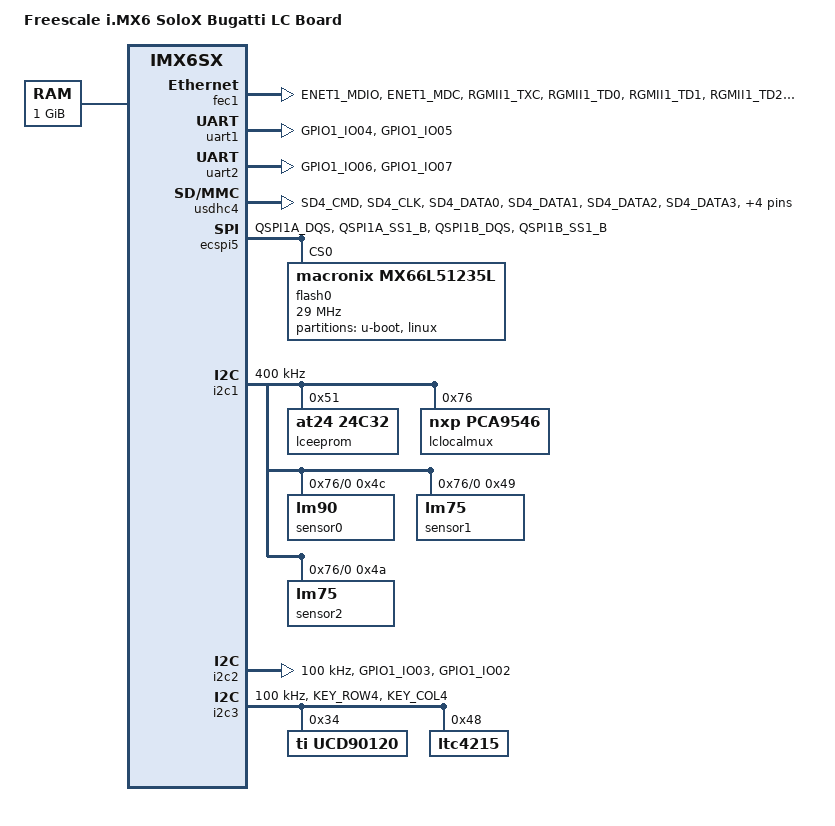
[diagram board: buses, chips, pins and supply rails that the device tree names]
/*
 * Copyright (C) 2015 Platina Systems, Inc.
 *
 * This program is free software; you can redistribute it and/or modify
 * it under the terms of the GNU General Public License version 2 as
 * published by the Free Software Foundation.
 */

/dts-v1/;

#include <dt-bindings/gpio/gpio.h>
#include <dt-bindings/input/input.h>
#include "imx6sx.dtsi"

/ {
	model = "Freescale i.MX6 SoloX Bugatti LC Board";
	compatible = "platina,platina-bugatti-lc", "fsl,imx6sx";

	chosen {
		stdout-path = &uart1;
	};

	memory {
		reg = <0x80000000 0x40000000>;
	};

};

&fec1 {
	pinctrl-names = "default";
	pinctrl-0 = <&pinctrl_enet1>;
	status = "okay";
};

&uart1 {
	pinctrl-names = "default";
	pinctrl-0 = <&pinctrl_uart1>;
	status = "okay";
};

&uart2 {
	pinctrl-names = "default";
	pinctrl-0 = <&pinctrl_uart2>;
	status = "okay";
};

&usdhc4 {
	pinctrl-names = "default";
	pinctrl-0 = <&pinctrl_usdhc4>;
	cd-gpios = <&gpio6 21 GPIO_ACTIVE_LOW>;
	wp-gpios = <&gpio6 20 GPIO_ACTIVE_HIGH>;
	status = "okay";
};

&ecspi5 {
	pinctrl-names = "default";
	pinctrl-0 = <&pinctrl_ecspi5>;
	status = "okay";

	flash0: macronix@0 {
		#address-cells = <1>;
		#size-cells = <1>;
		compatible = "macronix,mx66l51235l";
		spi-max-frequency = <29000000>;
		reg = <0>;
		partition@0 {
			label = "u-boot";
			reg = <0x00000000 0x00100000>;
		};
		partition@100000 {
			label = "linux";
			reg = <0x00100000 0x04000000>;
		};
	};
};

&iomuxc {
	imx6x-sdb {
		pinctrl_enet1: enet1grp {
			fsl,pins = <
				MX6SX_PAD_ENET1_MDIO__ENET1_MDIO	0xa0b1
				MX6SX_PAD_ENET1_MDC__ENET1_MDC		0xa0b1
				MX6SX_PAD_RGMII1_TXC__ENET1_RGMII_TXC	0xa0b1
				MX6SX_PAD_RGMII1_TD0__ENET1_TX_DATA_0	0xa0b1
				MX6SX_PAD_RGMII1_TD1__ENET1_TX_DATA_1	0xa0b1
				MX6SX_PAD_RGMII1_TD2__ENET1_TX_DATA_2	0xa0b1
				MX6SX_PAD_RGMII1_TD3__ENET1_TX_DATA_3	0xa0b1
				MX6SX_PAD_RGMII1_TX_CTL__ENET1_TX_EN	0xa0b1
				MX6SX_PAD_RGMII1_RXC__ENET1_RX_CLK	0x3081
				MX6SX_PAD_RGMII1_RD0__ENET1_RX_DATA_0	0x3081
				MX6SX_PAD_RGMII1_RD1__ENET1_RX_DATA_1	0x3081
				MX6SX_PAD_RGMII1_RD2__ENET1_RX_DATA_2	0x3081
				MX6SX_PAD_RGMII1_RD3__ENET1_RX_DATA_3	0x3081
				MX6SX_PAD_RGMII1_RX_CTL__ENET1_RX_EN	0x3081
				MX6SX_PAD_ENET2_RX_CLK__ENET2_REF_CLK_25M	0x91
			>;
		};

		pinctrl_gpio_keys: gpio_keysgrp {
			fsl,pins = <
				MX6SX_PAD_CSI_DATA04__GPIO1_IO_18 0x17059
				MX6SX_PAD_CSI_DATA05__GPIO1_IO_19 0x17059
			>;
		};

		pinctrl_i2c1: i2c1grp {
			fsl,pins = <
				MX6SX_PAD_GPIO1_IO01__I2C1_SDA		0x4001b8b1
				MX6SX_PAD_GPIO1_IO00__I2C1_SCL		0x4001b8b1
			>;
		};

		pinctrl_i2c2: i2c2grp {
			fsl,pins = <
				MX6SX_PAD_GPIO1_IO03__I2C2_SDA		0x4001b8b1
				MX6SX_PAD_GPIO1_IO02__I2C2_SCL		0x4001b8b1
			>;
		};

		pinctrl_i2c3: i2c3grp {
			fsl,pins = <
				MX6SX_PAD_KEY_ROW4__I2C3_SDA		0x4001b8b1
				MX6SX_PAD_KEY_COL4__I2C3_SCL		0x4001b8b1
			>;
		};

		pinctrl_uart1: uart1grp {
			fsl,pins = <
				MX6SX_PAD_GPIO1_IO04__UART1_TX		0x1b0b1
				MX6SX_PAD_GPIO1_IO05__UART1_RX		0x1b0b1
			>;
		};

		pinctrl_uart2: uart2grp {
			fsl,pins = <
				MX6SX_PAD_GPIO1_IO06__UART2_TX		0x1b0b1
				MX6SX_PAD_GPIO1_IO07__UART2_RX		0x1b0b1
			>;
		};

		pinctrl_usdhc4: usdhc4grp {
			fsl,pins = <
				MX6SX_PAD_SD4_CMD__USDHC4_CMD		0x17059
				MX6SX_PAD_SD4_CLK__USDHC4_CLK		0x10059
				MX6SX_PAD_SD4_DATA0__USDHC4_DATA0	0x17059
				MX6SX_PAD_SD4_DATA1__USDHC4_DATA1	0x17059
				MX6SX_PAD_SD4_DATA2__USDHC4_DATA2	0x17059
				MX6SX_PAD_SD4_DATA3__USDHC4_DATA3	0x17059
				MX6SX_PAD_SD4_DATA7__GPIO6_IO_21	0x17059 /* CD */
				MX6SX_PAD_SD4_DATA6__GPIO6_IO_20	0x17059 /* WP */
			>;
		};

		pinctrl_ecspi5: ecspi5grp {
			fsl,pins = <
				MX6SX_PAD_QSPI1A_DQS__ECSPI5_MOSI       0x70f1
				MX6SX_PAD_QSPI1A_SS1_B__ECSPI5_MISO     0x70f1
				MX6SX_PAD_QSPI1B_DQS__ECSPI5_SS0        0x70f1
				MX6SX_PAD_QSPI1B_SS1_B__ECSPI5_SCLK     0x70f1
			>;
		};
	};
};

&i2c1 {
	status = "okay";
	clock-frequency = <400000>;

	lceeprom: at24@51 {
                compatible = "at24,24c32";
                pagesize = <32>;
                reg = <0x51>;
        };

	lclocalmux: i2cmux@76 {
		compatible = "nxp,pca9546";
		#address-cells = <1>;
		#size-cells = <0>;
		reg = <0x76>;

		i2c@0 {
			#address-cells = <1>;
			#size-cells = <0>;
			reg = <0>;

			sensor0: lm90@4C {
				compatible = "lm90";
				reg = <0x4C>;
			};

			sensor1: lm75@49 {
				compatible = "lm75";
				reg = <0x49>;
			};

			sensor2: lm75@4A {
				compatible = "lm75";
				reg = <0x4A>;
			};
		};

		i2c@1 {
		        compatible = "i2c-mux-reg";
			#address-cells = <1>;
			#size-cells = <0>;
			reg = <1>;

			expander0: i2cmux@20 {
				reg = <0x20>;
				#address-cells = <1>;
				#size-cells = <0>;
			};
		};
	};
};

&i2c2 {
        clock-frequency = <100000>;
        pinctrl-names = "default";
        pinctrl-0 = <&pinctrl_i2c2>;
        status = "okay";
};

&i2c3 {
	status = "okay";
        clock-frequency = <100000>;
        pinctrl-names = "default";
        pinctrl-0 = <&pinctrl_i2c3>;
        status = "okay";

	ucd90120@34 {
		    compatible = "ti,ucd90120";
                    reg = <0x34>;
        };

	ltc4215@48 {
                    reg = <0x48>;
        };

};

